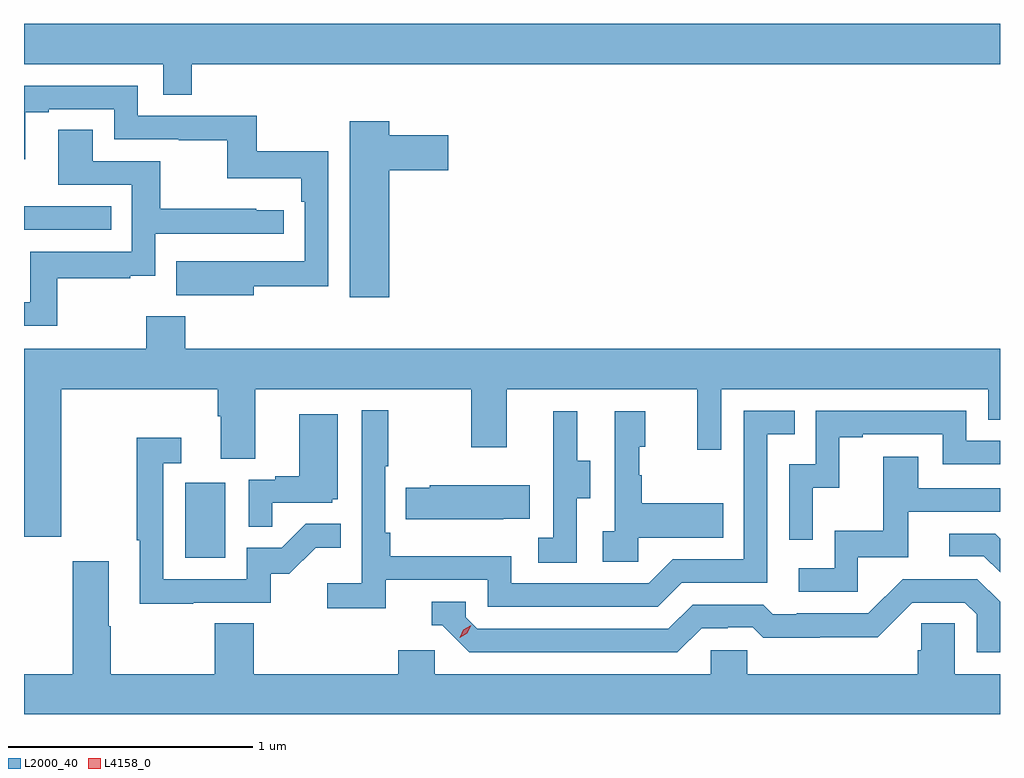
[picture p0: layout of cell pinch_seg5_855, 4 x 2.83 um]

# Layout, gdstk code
import gdstk
lib = gdstk.Library(unit=1e-6, precision=1e-09)
def R(c, l, rs):  # rectangles x0, y0, x1, y1
    for r in rs: c.add(gdstk.rectangle(r[:2], r[2:], *l))
def P(c, l, *ps):  # polygons
    for p in ps: c.add(gdstk.Polygon(p, *l))
L2000_40 = (2000, 40)
L4158_0 = (4158, 0)

pinch_seg5_855 = lib.new_cell('pinch_seg5_855')
R(pinch_seg5_855, L2000_40, [(841.31,885.372,841.474,885.679), (840.65,886.716,841.007,886.812)])
P(pinch_seg5_855, L2000_40, [(841.337,887.396),(844.65,887.396),(844.65,887.56),(840.65,887.56),(840.65,887.396),(841.221,887.396),(841.221,887.269),(841.337,887.269)],
  [(841.591,886.486),(841.896,886.486),(841.896,887.038),(841.603,887.038),(841.603,887.184),(841.116,887.184),(841.116,887.307),(840.65,887.307),(840.65,887.006),(840.655,887.006),(840.655,887.199),(840.751,887.199),(840.751,887.211),(841.02,887.211),(841.02,887.088),(841.285,887.088),(841.285,887.083),(841.482,887.083),(841.482,886.928),(841.787,886.928),(841.787,886.832),(841.8,886.832),(841.8,886.587),(841.487,886.587),(841.487,886.588),(841.273,886.588),(841.273,886.448),(841.591,886.448)],
  [(842.146,886.961),(842.389,886.961),(842.389,887.103),(842.146,887.103),(842.146,887.161),(841.985,887.161),(841.985,886.44),(842.146,886.44)],
  [(840.787,886.518),(841.085,886.518),(841.085,886.529),(841.188,886.529),(841.188,886.701),(841.714,886.701),(841.714,886.797),(841.601,886.797),(841.601,886.802),(841.208,886.802),(841.208,886.998),(840.931,886.998),(840.931,887.126),(840.791,887.126),(840.791,886.902),(841.092,886.902),(841.092,886.626),(840.676,886.626),(840.676,886.42),(840.65,886.42),(840.65,886.323),(840.787,886.323)],
  [(840.802,886.064),(841.445,886.064),(841.445,885.952),(841.457,885.952),(841.457,885.778),(841.597,885.778),(841.597,886.064),(842.482,886.064),(842.482,885.825),(842.629,885.825),(842.629,886.064),(843.41,886.064),(843.41,885.816),(843.507,885.816),(843.507,886.064),(844.602,886.064),(844.602,885.937),(844.65,885.937),(844.65,886.228),(841.31,886.228),(841.31,886.363),(841.15,886.363),(841.15,886.228),(840.65,886.228),(840.65,885.458),(840.802,885.458)],
  [(842.132,885.282),(842.55,885.282),(842.55,885.171),(843.247,885.171),(843.346,885.27),(843.696,885.27),(843.696,885.879),(843.809,885.879),(843.809,885.975),(843.6,885.975),(843.6,885.366),(843.309,885.366),(843.21,885.267),(842.646,885.267),(842.646,885.379),(842.15,885.379),(842.15,885.475),(842.13,885.475),(842.13,885.748),(842.143,885.748),(842.143,885.976),(842.034,885.976),(842.034,885.268),(841.893,885.268),(841.893,885.166),(842.132,885.166)],
  [(843.882,885.659),(843.992,885.659),(843.992,885.867),(844.087,885.867),(844.087,885.879),(844.416,885.879),(844.416,885.756),(844.65,885.756),(844.65,885.852),(844.512,885.852),(844.512,885.975),(843.894,885.975),(843.894,885.756),(843.786,885.756),(843.786,885.447),(843.882,885.447)],
  [(842.916,885.616),(842.971,885.616),(842.971,885.771),(842.917,885.771),(842.917,885.973),(842.819,885.973),(842.819,885.759),(842.82,885.759),(842.82,885.455),(842.757,885.455),(842.757,885.352),(842.916,885.352)],
  [(843.168,885.455),(843.515,885.455),(843.515,885.595),(843.181,885.595),(843.181,885.71),(843.171,885.71),(843.171,885.828),(843.196,885.828),(843.196,885.973),(843.072,885.973),(843.072,885.482),(843.021,885.482),(843.021,885.357),(843.168,885.357)],
  [(841.667,885.597),(841.914,885.597),(841.914,885.612),(841.936,885.612),(841.936,885.961),(841.778,885.961),(841.778,885.706),(841.679,885.706),(841.679,885.693),(841.572,885.693),(841.572,885.499),(841.667,885.499)],
  [(841.343,885.189),(841.662,885.189),(841.662,885.306),(841.738,885.306),(841.845,885.413),(841.949,885.413),(841.949,885.512),(841.805,885.512),(841.707,885.414),(841.563,885.414),(841.563,885.285),(841.221,885.285),(841.221,885.759),(841.294,885.759),(841.294,885.865),(841.113,885.865),(841.113,885.445),(841.125,885.445),(841.125,885.184),(841.343,885.184)],
  [(844.068,885.375),(844.273,885.375),(844.273,885.561),(844.65,885.561),(844.65,885.657),(844.315,885.657),(844.315,885.787),(844.171,885.787),(844.171,885.484),(843.972,885.484),(843.972,885.33),(843.825,885.33),(843.825,885.234),(844.068,885.234)],
  [(842.615,885.533),(842.723,885.533),(842.723,885.67),(842.313,885.67),(842.313,885.66),(842.215,885.66),(842.215,885.53),(842.615,885.53)],
  [(844.65,885.451),(844.63,885.471),(844.443,885.471),(844.443,885.378),(844.584,885.378),(844.65,885.312)],
  [(844.65,884.896),(844.464,884.896),(844.464,885.104),(844.327,885.104),(844.327,884.994),(844.313,884.994),(844.313,884.896),(843.615,884.896),(843.615,884.994),(843.465,884.994),(843.465,884.896),(842.334,884.896),(842.334,884.994),(842.183,884.994),(842.183,884.896),(841.592,884.896),(841.592,885.104),(841.432,885.104),(841.432,884.896),(841.005,884.896),(841.005,885.092),(840.997,885.092),(840.997,885.358),(840.85,885.358),(840.85,884.896),(840.65,884.896),(840.65,884.732),(844.65,884.732)],
  [(843.427,885.084),(843.534,885.084),(843.534,885.087),(843.637,885.087),(843.679,885.045),(843.912,885.045),(843.912,885.047),(844.148,885.047),(844.29,885.189),(844.506,885.189),(844.554,885.141),(844.554,884.985),(844.65,884.985),(844.65,885.192),(844.557,885.285),(844.251,885.285),(844.11,885.144),(843.817,885.144),(843.817,885.141),(843.718,885.141),(843.679,885.18),(843.39,885.18),(843.291,885.081),(842.508,885.081),(842.46,885.129),(842.46,885.192),(842.321,885.192),(842.321,885.096),(842.364,885.096),(842.475,884.985),(843.328,884.985)])
P(pinch_seg5_855, L4158_0, [(842.435,885.045),(842.435,885.045),(842.451,885.077),(842.482,885.096),(842.482,885.096),(842.482,885.096),(842.466,885.064),(842.435,885.045)])

lib.write_gds('pinch_seg5_855.gds')
